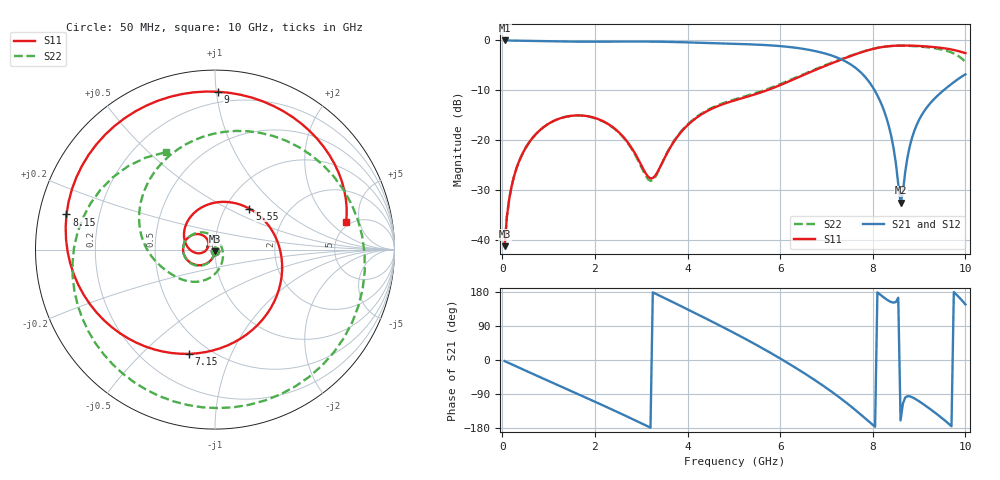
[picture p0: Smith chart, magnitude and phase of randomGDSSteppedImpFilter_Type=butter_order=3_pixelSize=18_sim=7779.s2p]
! freq	dB(S11)	phase(S11)	dB(S12)	phase(S12)
!  dB(S21)	phase(S21)	dB(S22)	phase(S22)
!S-par simulation data
#  GHz  S  DB  R 50
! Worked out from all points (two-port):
!   200 points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, 50 MHz to 10 GHz, reference 50 ohm
!   highest |S21| = -0.01 dB at 50 MHz (marker M1); lowest = -32.5 dB at 8.6 GHz (marker M2)
!   |S21| within 3 dB of the highest: start of sweep to 7.107 GHz
!   lowest |S11| = -41.2 dB at 50 MHz (marker M3), VSWR 1.02, Z = 50 - j0.873 ohm
!   |S11| at or under -10 dB: start of sweep to 5.71 GHz
!   |S22| runs from -41.2 to -1.1 dB; largest |S21 - S12| = 0
!   S11 on the Smith chart (normalised r, x): 50 MHz: 1.00, -0.02; 5.55 GHz: 1.29, +0.65; 7.15 GHz: 0.39, -0.70; 8.15 GHz: 0.08, +0.12; 9 GHz: 0.13, +1.01; 10 GHz: 4.62, +3.19
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0.05  -41.17 -91.0  -0.01 -2.8  -0.01 -2.8  -41.17 -90.9
0.2  -29.24 -101.2  -0.03 -11.2  -0.03 -11.2  -29.24 -100.8
0.5  -21.57 -118.7  -0.07 -27.9  -0.07 -27.9  -21.57 -117.6
1.15  -15.94 -155.2  -0.19 -63.6  -0.19 -63.6  -15.95 -153.2
1.75  -15.05 172.2  -0.25 -96.3  -0.25 -96.3  -15.07 173.9
2.7  -20.29 129.0  -0.22 -149.4  -0.22 -149.4  -20.43 111.5
3.15  -27.29 148.8  -0.23 -175.6  -0.23 -175.6  -27.80 37.8
3.4  -25.48 -172.8  -0.26 169.6  -0.26 169.6  -25.58 -32.2
4.3  -14.80 160.3  -0.48 115.4  -0.48 115.4  -14.64 -111.0
5.05  -11.91 99.2  -0.69 68.6  -0.69 68.6  -11.70 -143.0
5.55  -10.51 50.0  -0.86 35.6  -0.86 35.6  -10.29 -159.9
6.1  -8.56 -6.9  -1.22 -3.2  -1.22 -3.2  -8.35 178.7
6.7  -6.15 -64.7  -2.02 -49.1  -2.02 -49.1  -5.98 143.5
7.15  -4.45 -104.3  -3.14 -87.0  -3.14 -87.0  -4.32 105.7
7.65  -2.70 -147.4  -5.65 -134.6  -5.65 -134.6  -2.64 50.5
8.15  -1.41 166.7  -11.96 173.5  -11.96 173.5  -1.40 -14.8
8.35  -1.15 147.8  -17.27 155.8  -17.27 155.8  -1.16 -40.9
8.6  -1.03 124.5  -32.48 -159.5  -32.48 -159.5  -1.06 -71.7
8.8  -1.04 106.5  -21.13 -96.0  -21.13 -96.0  -1.10 -94.6
9  -1.11 88.9  -15.89 -108.9  -15.89 -108.9  -1.21 -116.1
9.55  -1.58 43.4  -9.82 -159.0  -9.82 -159.0  -1.97 -174.7
10  -2.54 11.8  -6.79 146.8  -6.79 146.8  -4.32 116.8
